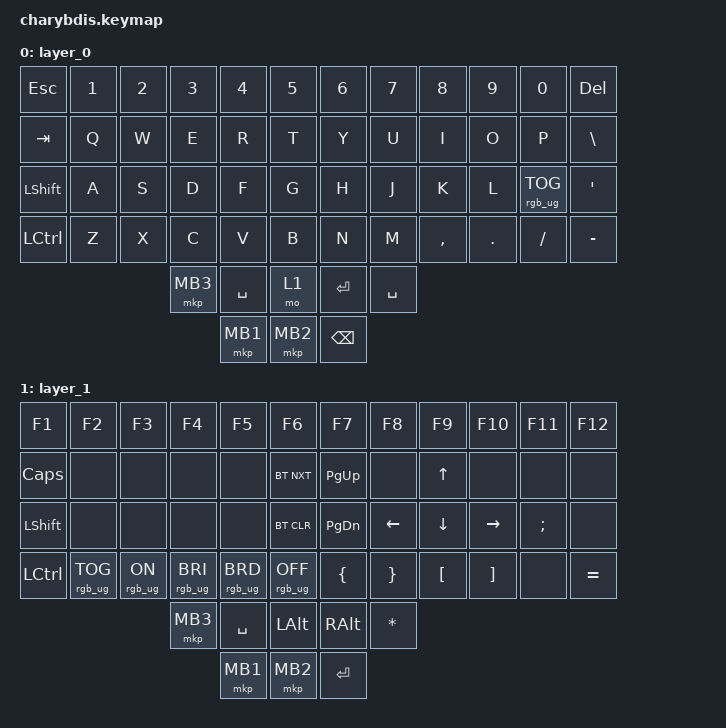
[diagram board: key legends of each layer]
#include <behaviors.dtsi>
#include <dt-bindings/zmk/bt.h>
#include <dt-bindings/zmk/keys.h>
#include <dt-bindings/zmk/mouse.h>
#include <dt-bindings/zmk/rgb.h>

&lt {
    tapping-term-ms = <200>;
    flavor = "balanced";
    quick-tap-ms = <150>;
};

/ {
    keymap {
        compatible = "zmk,keymap";

        layer_0 {
            bindings = <
&kp ESC         &kp N1  &kp N2  &kp N3    &kp N4     &kp N5      &kp N6         &kp N7     &kp N8     &kp N9      &kp N0           &kp DELETE
&kp TAB         &kp Q   &kp W   &kp E     &kp R      &kp T       &kp Y          &kp U      &kp I      &kp O       &kp P            &kp BSLH
&kp LEFT_SHIFT  &kp A   &kp S   &kp D     &kp F      &kp G       &kp H          &kp J      &kp K      &kp L       &rgb_ug RGB_TOG  &kp SQT
&kp LCTRL       &kp Z   &kp X   &kp C     &kp V      &kp B       &kp N          &kp M      &kp COMMA  &kp PERIOD  &kp FSLH         &kp MINUS
                                &mkp MB3  &kp SPACE  &mo 1       &kp ENTER      &kp SPACE
                                          &mkp MB1   &mkp MB2    &kp BACKSPACE
            >;

            trackball-bindings = <&tmv_coarse>;
        };

        layer_1 {
            bindings = <
&kp F1          &kp F2           &kp F3          &kp F4           &kp F5           &kp F6             &kp F7          &kp F8           &kp F9            &kp F10            &kp F11        &kp F12
&kp CAPS        &none            &none           &none            &none            &bt BT_NXT         &kp PAGE_UP     &none            &kp UP            &none              &none          &none
&kp LEFT_SHIFT  &none            &none           &none            &none            &bt BT_CLR         &kp PAGE_DOWN   &kp LEFT         &kp DOWN          &kp RIGHT          &kp SEMICOLON  &none
&kp LCTRL       &rgb_ug RGB_TOG  &rgb_ug RGB_ON  &rgb_ug RGB_BRI  &rgb_ug RGB_BRD  &rgb_ug RGB_OFF    &kp LEFT_BRACE  &kp RIGHT_BRACE  &kp LEFT_BRACKET  &kp RIGHT_BRACKET  &none          &kp EQUAL
                                                 &mkp MB3         &kp SPACE        &kp LEFT_ALT       &kp RIGHT_ALT   &kp ASTERISK
                                                                  &mkp MB1         &mkp MB2           &kp ENTER
            >;

            trackball-bindings = <&tsl>;
        };

        /* layer_2 {
            bindings = <
&none  &none   &none    &none   &none         &none         &kp N1         &none         &none     &none  &none   &to 0
&none  &none   &none    &none   &none         &none         &none         &none          &rgb_ug RGB_BRD &rgb_ug RGB_BRI  &rgb_ug RGB_EFF   &rgb_ug RGB_TOG
&none  &none   &none    &none   &none         &none         &none         &mkp LCLK     &mkp RCLK  &none  &none   &none
&none  &none   &none    &none   &bt BT_NXT  &bt BT_CLR    &none         &none         &none     &none  &none   &none
                                   &none         &none         &none         &none         &none
                                                 &none         &none         &none
            >;
          trackball-bindings = <&tsl>;
            
        };

       Mouse {
            bindings = <
&none        &none         &none         &none         &none      &none         &none       &none      &none         &none         &none         &none
&none        &bt BT_SEL 0  &bt BT_SEL 1  &bt BT_SEL 3  &none      &bt BT_CLR    &bt BT_CLR  &none      &bt BT_SEL 2  &bt BT_SEL 1  &bt BT_SEL 0  &none
&none        &trans        &trans        &mkp MCLK     &trans     &none         &none       &trans     &mkp MCLK     &trans        &trans        &none
&bootloader  &trans        &mkp RCLK     &mo 4         &mkp LCLK  &mo 5         &mo 5       &mkp LCLK  &mo 4         &mkp RCLK     &trans        &bootloader
                                         &mo 5         &mkp LCLK  &mkp RCLK     &mkp RCLK   &mkp LCLK
                                                       &none      &trans        &trans
            >;

            
        };

        layer_4 {
            bindings = <
&trans  &trans  &trans     &trans     &trans     &trans       &trans     &trans     &trans     &trans     &trans  &trans
&trans  &trans  &trans     &trans     &trans     &trans       &trans     &trans     &trans     &trans     &trans  &trans
&trans  &trans  &trans     &mkp MCLK  &trans     &trans       &trans     &trans     &mkp MCLK  &trans     &trans  &trans
&trans  &trans  &mkp RCLK  &trans     &mkp LCLK  &trans       &trans     &mkp LCLK  &trans     &mkp RCLK  &trans  &trans
                           &trans     &mkp LCLK  &mkp RCLK    &mkp RCLK  &mkp LCLK
                                      &trans     &trans       &trans
            >;
                
                
                trackball-bindings = <&tsl>;
        };

        layer_5 {
            bindings = <
&trans  &trans  &trans     &trans     &trans     &trans       &trans     &trans     &trans     &trans     &trans  &trans
&trans  &trans  &trans     &trans     &trans     &trans       &trans     &trans     &trans     &trans     &trans  &trans
&trans  &trans  &trans     &mkp MCLK  &trans     &trans       &trans     &trans     &mkp MCLK  &trans     &trans  &trans
&trans  &trans  &mkp RCLK  &trans     &mkp LCLK  &trans       &trans     &mkp LCLK  &trans     &mkp RCLK  &trans  &trans
                           &trans     &mkp LCLK  &mkp RCLK    &mkp RCLK  &mkp LCLK
                                      &trans     &trans       &trans
            >;
                trackball-bindings = <&tmv_fine>;
                
        };*/
    };
};
